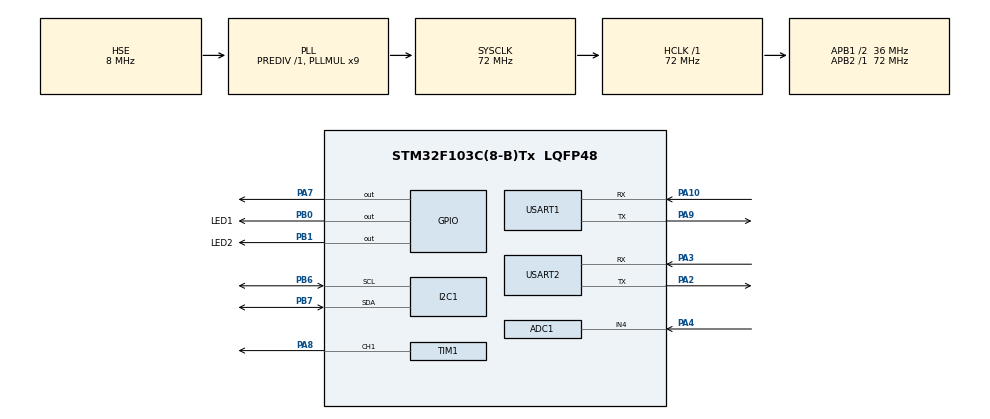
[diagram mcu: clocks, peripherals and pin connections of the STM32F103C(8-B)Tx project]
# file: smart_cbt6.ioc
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ADC1.Channel-5\#ChannelRegularConversion=ADC_CHANNEL_4
ADC1.NbrOfConversionFlag=1
ADC1.Rank-5\#ChannelRegularConversion=1
ADC1.SamplingTime-5\#ChannelRegularConversion=ADC_SAMPLETIME_1CYCLE_5
ADC1.master=1
I2C1.I2C_Mode=I2C_Fast
Mcu.Family=STM32F1
Mcu.Name=STM32F103C(8-B)Tx
Mcu.Package=LQFP48
NVIC.PriorityGroup=NVIC_PRIORITYGROUP_4
NVIC.USART1_IRQn=true\:0\:0\:false\:false\:true\:true\:true\:true
NVIC.USART2_IRQn=true\:0\:0\:false\:false\:true\:true\:true\:true
PA10.Mode=Asynchronous
PA10.Signal=USART1_RX
PA13.Mode=Serial_Wire
PA13.Signal=SYS_JTMS-SWDIO
PA14.Mode=Serial_Wire
PA14.Signal=SYS_JTCK-SWCLK
PA2.Mode=Asynchronous
PA2.Signal=USART2_TX
PA3.Mode=Asynchronous
PA3.Signal=USART2_RX
PA4.Signal=ADCx_IN4
PA7.GPIO_ModeDefaultOutputPP=GPIO_MODE_OUTPUT_OD
PA7.GPIO_PuPd=GPIO_PULLUP
PA7.GPIO_Speed=GPIO_SPEED_FREQ_LOW
PA7.PinState=GPIO_PIN_RESET
PA7.Signal=GPIO_Output
PA8.Signal=S_TIM1_CH1
PA9.Mode=Asynchronous
PA9.Signal=USART1_TX
PB0.GPIO_Label=LED1
PB0.Signal=GPIO_Output
PB1.GPIO_Label=LED2
PB1.Signal=GPIO_Output
PB6.Mode=I2C
PB6.Signal=I2C1_SCL
PB7.Mode=I2C
PB7.Signal=I2C1_SDA
PD0-OSC_IN.Mode=HSE-External-Oscillator
PD0-OSC_IN.Signal=RCC_OSC_IN
PD1-OSC_OUT.Mode=HSE-External-Oscillator
PD1-OSC_OUT.Signal=RCC_OSC_OUT
ProjectManager.HeapSize=0x200
ProjectManager.StackSize=0x400
ProjectManager.TargetToolchain=MDK-ARM V5.32
RCC.ADCPresc=RCC_ADCPCLK2_DIV6
RCC.AHBFreq_Value=72000000
RCC.APB1CLKDivider=RCC_HCLK_DIV2
RCC.APB1Freq_Value=36000000
RCC.APB1TimFreq_Value=72000000
RCC.APB2Freq_Value=72000000
RCC.APB2TimFreq_Value=72000000
RCC.HCLKFreq_Value=72000000
RCC.PLLMUL=RCC_PLL_MUL9
RCC.PLLSourceVirtual=RCC_PLLSOURCE_HSE
RCC.SYSCLKFreq_VALUE=72000000
RCC.SYSCLKSource=RCC_SYSCLKSOURCE_PLLCLK
RCC.USBFreq_Value=72000000
SH.ADCx_IN4.0=ADC1_IN4,IN4
SH.S_TIM1_CH1.0=TIM1_CH1,PWM Generation1 CH1
TIM1.Channel-PWM\ Generation1\ CH1=TIM_CHANNEL_1
TIM1.Period=999
TIM1.Prescaler=71
TIM1.Pulse-PWM\ Generation1\ CH1=500
TIM2.Prescaler=71
USART1.VirtualMode=VM_ASYNC
USART2.VirtualMode=VM_ASYNC
VP_TIM1_VS_ClockSourceINT.Mode=Internal
VP_TIM2_VS_ClockSourceINT.Mode=Internal
board=custom

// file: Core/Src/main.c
/* USER CODE BEGIN Header */
/**
  ******************************************************************************
  * @file           : main.c
  * @brief          : Main program body
  ******************************************************************************
  * @attention
  *
  * Copyright (c) 2026 STMicroelectronics.
  * All rights reserved.
  *
  * This software is licensed under terms that can be found in the LICENSE file
  * in the root directory of this software component.
  * If no LICENSE file comes with this software, it is provided AS-IS.
  *
  ******************************************************************************
  */
/* USER CODE END Header */
#include "main.h"
#include "adc.h"
#include "i2c.h"
#include "tim.h"
#include "usart.h"
#include "gpio.h"

/* USER CODE BEGIN Includes */
#include <stdio.h>
#include <string.h>
#include "light.h"
#include "ds18b20.h"
#include "oled.h"
#include "dht11.h"
/* USER CODE END Includes */

/* USER CODE BEGIN PD */
#define DEVICE_ID "wengyuanhang"
/* USER CODE END PD */

void SystemClock_Config(void);

int main(void)
{

  /* MCU Configuration--------------------------------------------------------*/

  /* Reset of all peripherals, Initializes the Flash interface and the Systick. */
  HAL_Init();

  /* Configure the system clock */
  SystemClock_Config();

  /* Initialize all configured peripherals */
  MX_GPIO_Init();
  MX_USART2_UART_Init();
  MX_ADC1_Init();
  MX_I2C1_Init();
  MX_TIM2_Init();
  MX_USART1_UART_Init();
  MX_TIM1_Init();
  /* USER CODE BEGIN 2 */

	//温湿度初始化
	DHT11_Init();

	//ds18b20初始化
	//DS18B20_Init();

	//OLED初始化
	OLED_Init();
	OLED_Clear();

	//显示标题
	OLED_ShowString(0, 0, (u8*)"Smart Device", 16);
	OLED_ShowString(0, 2, (u8*)"----------------", 12);

	//开启灯光设备1和设备2，LED1高电平有效，高电平时亮灯。LED2低电平有效，低电平时亮灯
	HAL_GPIO_WritePin(LED1_GPIO_Port,LED1_Pin,GPIO_PIN_RESET);
	HAL_GPIO_WritePin(LED2_GPIO_Port,LED2_Pin,GPIO_PIN_SET);

	uint8_t switch_state = 0;

	char upload_data[100];
	char oled_buf[20];  //OLED显示缓冲区

	uint32_t lightValue;  //记录光照数据

	float temp1 = 0;   //记录温度
	uint8_t temp2 = 0;  //记录温度
	uint8_t humi = 0;   //记录湿度

  /* USER CODE END 2 */

  /* Infinite loop */
  while (1)
  {

    /* USER CODE BEGIN 3 */

		if(DHT11_Get(&temp1,&temp2,&humi) == 0){
			//如果采集成功，就上传云端
			sprintf(upload_data,"%s/sensor/Temp %.2f_%u\n",DEVICE_ID,temp1,humi);
			HAL_UART_Transmit(&huart2,(uint8_t*)upload_data,strlen(upload_data),1000);	    //上传esp8266
			HAL_UART_Transmit(&huart1,(uint8_t*)upload_data,strlen(upload_data),1000);    //上传QT软件
		}

		//OLED显示温度
		OLED_ShowString(0, 3, (u8*)"Temp:   ", 12);
		sprintf(oled_buf, "%.2f", temp1);
		OLED_ShowString(48, 3, (u8*)oled_buf, 12);

		//OLED显示湿度
		OLED_ShowString(0, 4, (u8*)"Humi:   ",12);
		sprintf(oled_buf, "%u", humi);
		OLED_ShowString(48, 4, (u8*)oled_buf, 12);

		//获取光照值，并上传到云端
		lightValue = Light_Get();

		sprintf(upload_data,"%s/sensor/Light %u\n",DEVICE_ID,lightValue);

		HAL_UART_Transmit(&huart2,(uint8_t*)upload_data,strlen(upload_data),1000);   //上传esp8266
		HAL_UART_Transmit(&huart1,(uint8_t*)upload_data,strlen(upload_data),1000);   //上传qt软件

		//OLED显示光照
		OLED_ShowString(0, 5, (u8*)"Light:     ", 12);
		sprintf(oled_buf, "%u", lightValue);
		OLED_ShowString(48, 5, (u8*)oled_buf, 12);

		//获取灯光设备1LED1的状态，并上传到云端，
		switch_state = HAL_GPIO_ReadPin(LED1_GPIO_Port,LED1_Pin);

		//sprintf(upload_data,"%s/state/Led1 %s\n",DEVICE_ID, switch_state ? "ON" : "OFF");
		sprintf(upload_data,"%s/state/Led1 %u\n",DEVICE_ID, switch_state);

		HAL_UART_Transmit(&huart2,(uint8_t*)upload_data,strlen(upload_data),1000);
		HAL_UART_Transmit(&huart1,(uint8_t*)upload_data,strlen(upload_data),1000);   //上传qt软件

		//OLED显示LED1状态
		OLED_ShowString(0, 6, (u8*)"LED:", 12);
		OLED_ShowString(48, 6, (u8*)(switch_state ? "ON " : "OFF"), 12);

		////获取灯光设备2LED2的状态，并上传到云端
		switch_state = HAL_GPIO_ReadPin(LED2_GPIO_Port,LED2_Pin);

		sprintf(upload_data,"%s/state/Led2 %u\n",DEVICE_ID, switch_state);

		HAL_UART_Transmit(&huart2,(uint8_t*)upload_data,strlen(upload_data),1000);

		//OLED显示蜂鸣器状态
		OLED_ShowString(0, 7, (u8*)"Buzz:", 12);
		OLED_ShowString(48, 7, (u8*)(buzzer_state ? "ON " : "OFF"), 12);

		//获取蜂鸣器状态并上传
		sprintf(upload_data,"%s/state/Buzzer %u\n",DEVICE_ID, buzzer_state);
		HAL_UART_Transmit(&huart2,(uint8_t*)upload_data,strlen(upload_data),1000);
		HAL_UART_Transmit(&huart1,(uint8_t*)upload_data,strlen(upload_data),1000);

		HAL_Delay(1000);

  }
  /* USER CODE END 3 */
}

void SystemClock_Config(void)
{
  RCC_OscInitTypeDef RCC_OscInitStruct = {0};
  RCC_ClkInitTypeDef RCC_ClkInitStruct = {0};
  RCC_PeriphCLKInitTypeDef PeriphClkInit = {0};

  /** Initializes the RCC Oscillators according to the specified parameters
  * in the RCC_OscInitTypeDef structure.
  */
  RCC_OscInitStruct.OscillatorType = RCC_OSCILLATORTYPE_HSE;
  RCC_OscInitStruct.HSEState = RCC_HSE_ON;
  RCC_OscInitStruct.HSEPredivValue = RCC_HSE_PREDIV_DIV1;
  RCC_OscInitStruct.HSIState = RCC_HSI_ON;
  RCC_OscInitStruct.PLL.PLLState = RCC_PLL_ON;
  RCC_OscInitStruct.PLL.PLLSource = RCC_PLLSOURCE_HSE;
  RCC_OscInitStruct.PLL.PLLMUL = RCC_PLL_MUL9;
  if (HAL_RCC_OscConfig(&RCC_OscInitStruct) != HAL_OK)
  {
    Error_Handler();
  }

  /** Initializes the CPU, AHB and APB buses clocks
  */
  RCC_ClkInitStruct.ClockType = RCC_CLOCKTYPE_HCLK|RCC_CLOCKTYPE_SYSCLK
                              |RCC_CLOCKTYPE_PCLK1|RCC_CLOCKTYPE_PCLK2;
  RCC_ClkInitStruct.SYSCLKSource = RCC_SYSCLKSOURCE_PLLCLK;
  RCC_ClkInitStruct.AHBCLKDivider = RCC_SYSCLK_DIV1;
  RCC_ClkInitStruct.APB1CLKDivider = RCC_HCLK_DIV2;
  RCC_ClkInitStruct.APB2CLKDivider = RCC_HCLK_DIV1;

  if (HAL_RCC_ClockConfig(&RCC_ClkInitStruct, FLASH_LATENCY_2) != HAL_OK)
  {
    Error_Handler();
  }
  PeriphClkInit.PeriphClockSelection = RCC_PERIPHCLK_ADC;
  PeriphClkInit.AdcClockSelection = RCC_ADCPCLK2_DIV6;
  if (HAL_RCCEx_PeriphCLKConfig(&PeriphClkInit) != HAL_OK)
  {
    Error_Handler();
  }
}

void Error_Handler(void)
{
  __disable_irq();
  while (1)
  {
  }
}
